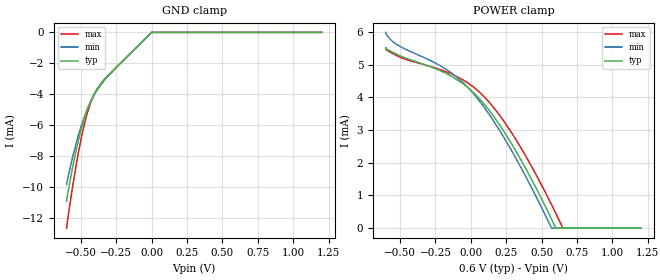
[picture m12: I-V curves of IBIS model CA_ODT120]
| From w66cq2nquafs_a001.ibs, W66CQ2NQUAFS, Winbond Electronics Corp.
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[Model]   CA_ODT120
Model_type   Input
Vinl = 0.0725
Vinh = 0.2275
|   typ   min   max
C_comp   0.57pF   0.52pF   0.62pF
[Voltage Range]   0.6   0.57   0.65
[Temperature Range]   25   125   -40
[Power Clamp Reference]   0.6   0.57   0.65
[GND Clamp Reference]   0   0   0
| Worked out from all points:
|   GND clamp passes 1 mA (typ) near -0.11 V on its own axis
[GND Clamp]
|   Voltage   I(typ)   I(min)   I(max)
-600.6mV  -10.92mA   -9.849mA   -12.67mA
-583.2mV  -9.967mA   -9.071mA   -11.51mA
-556.1mV  -8.644mA   -8.004mA   -9.877mA
-521.3mV  -7.147mA   -6.789mA   -7.985mA
-493.4mV  -6.121mA   -5.943mA   -6.679mA
-451.8mV  -4.915mA   -4.908mA   -5.143mA
-427.8mV  -4.396mA   -4.424mA   -4.484mA
-404.3mV  -3.981mA   -4.021mA   -3.986mA
-382.9mV  -3.656mA   -3.703mA   -3.629mA
-325.8mV  -2.989mA   -3.014mA   -2.953mA
-50uV     -592.8nA   -1.482uA   -634.5nA
1.201V    0A         0A         0A
[POWER Clamp]
|   Voltage   I(typ)   I(min)   I(max)
-600.6mV  5.521mA    5.986mA    5.493mA
-577.2mV  5.433mA    5.815mA    5.402mA
-528.5mV  5.326mA    5.632mA    5.287mA
-132mV    4.632mA    4.73mA     4.703mA
44.4mV    4.033mA    3.975mA    4.221mA
156.6mV   3.444mA    3.3mA      3.711mA
288.1mV   2.575mA    2.367mA    2.913mA
399.1mV   1.732mA    1.485mA    2.118mA
569.6mV   275.3uA    3.207uA    717.9uA
600mV     0A         0A         450.5uA
650mV     0A         0A         394nA
1.201V    0A         0A         0A
